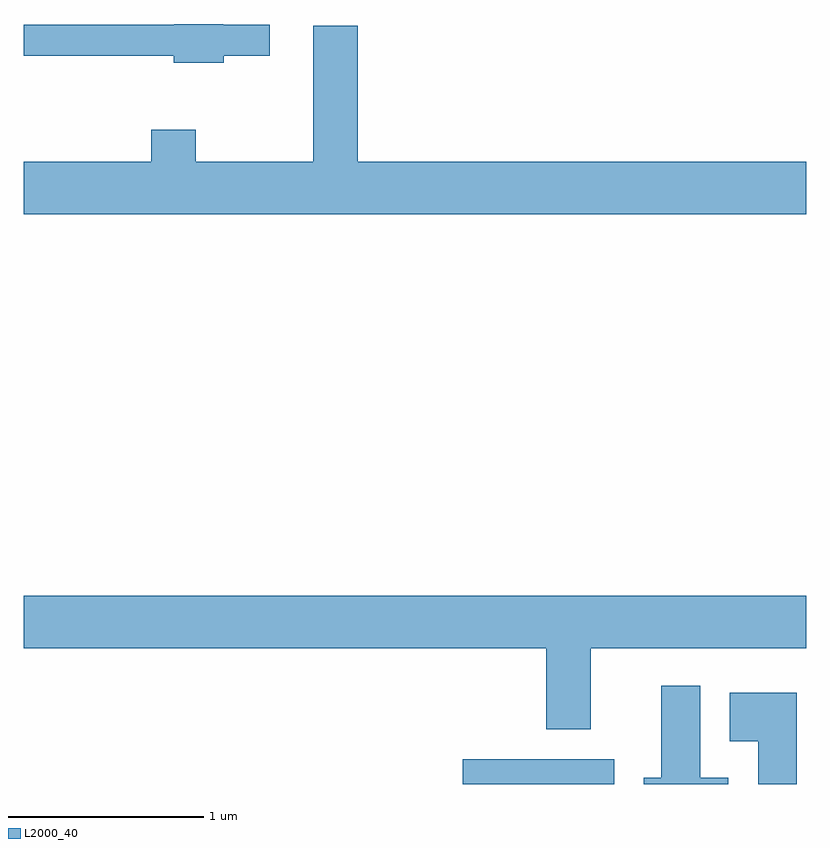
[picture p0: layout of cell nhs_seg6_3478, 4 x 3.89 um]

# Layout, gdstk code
import gdstk
lib = gdstk.Library(unit=1e-6, precision=1e-09)
def R(c, l, rs):  # rectangles x0, y0, x1, y1
    for r in rs: c.add(gdstk.rectangle(r[:2], r[2:], *l))
def P(c, l, *ps):  # polygons
    for p in ps: c.add(gdstk.Polygon(p, *l))
L2000_40 = (2000, 40)

nhs_seg6_3478 = lib.new_cell('nhs_seg6_3478')
R(nhs_seg6_3478, L2000_40, [(291.856,1618.162,292.629,1618.289)])
P(nhs_seg6_3478, L2000_40, [(290.634,1621.886),(290.868,1621.886),(290.868,1622.044),(290.63,1622.044),(290.63,1622.049),(290.38,1622.049),(290.38,1622.044),(289.611,1622.044),(289.611,1621.886),(290.376,1621.886),(290.376,1621.851),(290.634,1621.851)],
  [(293.611,1621.344),(291.319,1621.344),(291.319,1622.039),(291.091,1622.039),(291.091,1621.344),(290.489,1621.344),(290.489,1621.509),(290.261,1621.509),(290.261,1621.344),(289.611,1621.344),(289.611,1621.076),(293.611,1621.076)],
  [(292.509,1618.856),(293.611,1618.856),(293.611,1619.124),(289.611,1619.124),(289.611,1618.856),(292.281,1618.856),(292.281,1618.441),(292.509,1618.441)],
  [(293.214,1618.194),(293.069,1618.194),(293.069,1618.664),(292.871,1618.664),(292.871,1618.194),(292.781,1618.194),(292.781,1618.162),(293.214,1618.162)],
  [(293.564,1618.629),(293.221,1618.629),(293.221,1618.381),(293.366,1618.381),(293.366,1618.162),(293.564,1618.162)])

lib.write_gds('nhs_seg6_3478.gds')
